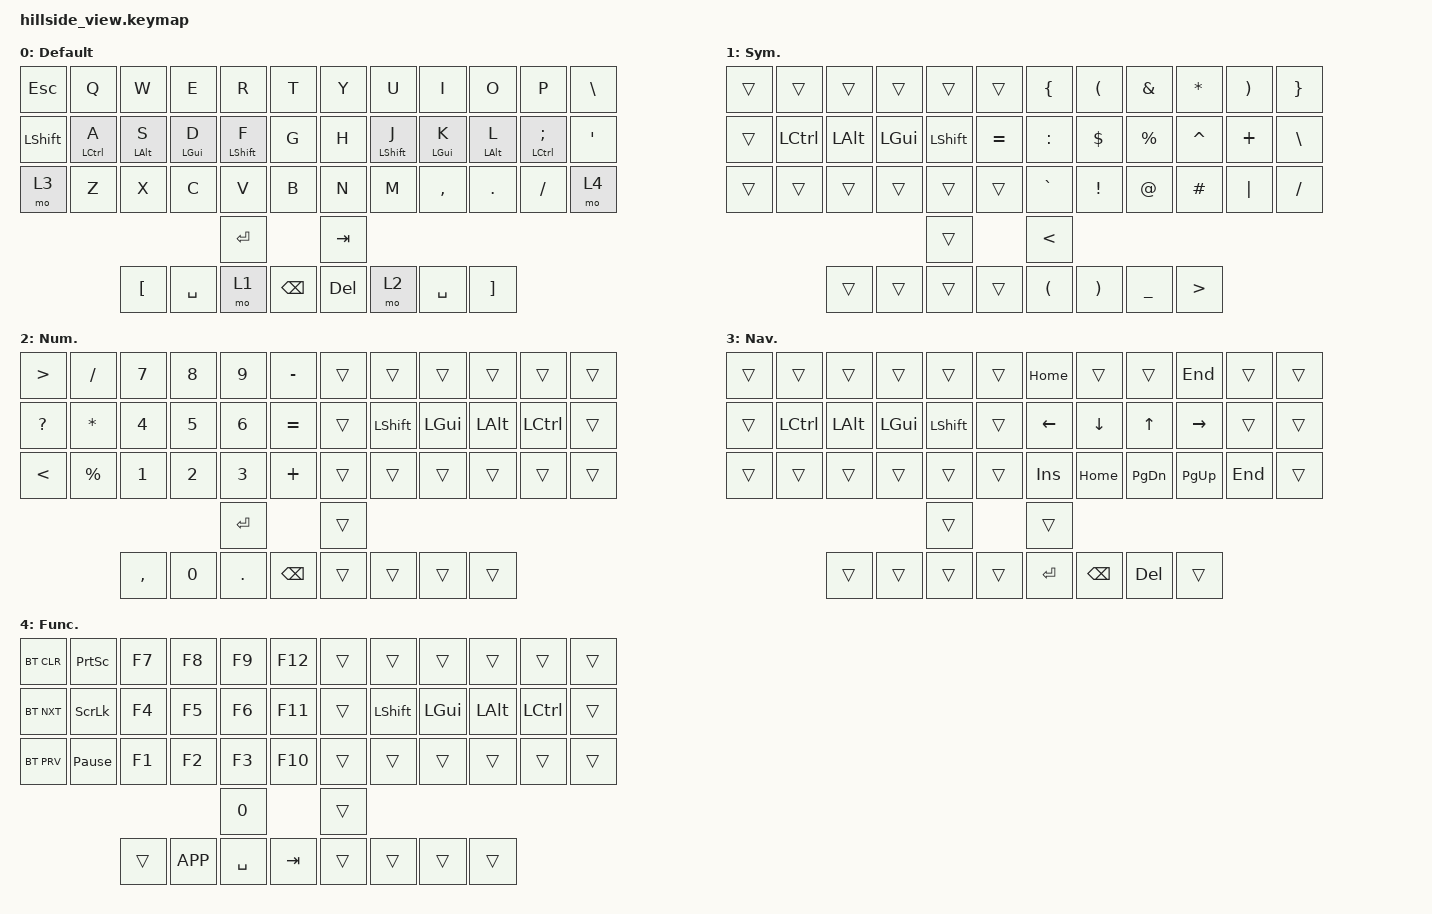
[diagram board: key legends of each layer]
#include <behaviors.dtsi>
#include <dt-bindings/zmk/keys.h>
#include <dt-bindings/zmk/bt.h>


//   // Key numbers
//   // -----------------------------------------------------------------------------------------
//   // | 0  |  1  |  2  |  3  |  4  |  5  |   |  6  |  7   |  8  |  9  |  10  | 11 |
//   // | 12 |  13 |  14 |  15 |  16 |  17 |   |  18 |  19  |  20 |  21 |  22  | 23 |
//   // | 24 |  25 |  26 |  27 |  28 |  29 |   |  30 |  31  |  32 |  33 |  34  | 35 |
//   //                        |  36 |               |  37 |
//   //            |  38 |  39 |  40 |  41 |   |  42 |  43 |  44  |  45 |

// homerow mod key configs as per https://zmk.dev/docs/keymaps/behaviors/hold-tap?examples=home_row_mods#custom-hold-tap-examples
/ {
    behaviors {
        hml: home_row_mod_left {
            compatible = "zmk,behavior-hold-tap";
            #binding-cells = <2>;
            flavor = "balanced";
            require-prior-idle-ms = <150>;
            tapping-term-ms = <200>; // default 200
            quick-tap-ms = <175>;
            bindings = <&kp>, <&kp>;
            // only get hold behaviors during cross-hand key combinations
            hold-trigger-key-positions = <6 7 8 9 10 11 18 19 20 21 22 23 30 31 32 33 34 35 37 42 43 44 45>; // List of keys on the right side of the keyboard
            // allow combined modifiers on same hand
            hold-trigger-on-release;
        };
        hmr: home_row_mod_right {
            compatible = "zmk,behavior-hold-tap";
            #binding-cells = <2>;
            flavor = "balanced";
            require-prior-idle-ms = <150>;
            tapping-term-ms = <200>; // default 200
            quick-tap-ms = <175>;
            bindings = <&kp>, <&kp>;
            hold-trigger-key-positions = <0 1 2 3 4 5 12 13 14 15 16 17 24 25 26 27 28 29 36 38 39 40 41>; // List of keys on the left side of the keyboard
            hold-trigger-on-release;
        };
    };
};

/ {
  combos {
    compatible = "zmk,combos";

    combo_caps_word {
      key-positions = <16 19>; // F + J
      bindings = <&caps_word>;
      timeout-ms = <50>;
    };

    combo_tmux {
      key-positions = <13 22>; // A + ;
      bindings = <&kp LC(B)>;
      timeout-ms = <50>;
    };
  };
};

/ {
  keymap {
    compatible = "zmk,keymap";

    default_layer {
      display-name = "Default";
  // -----------------------------------------------------------------------------------------
  // |  ESC  |  Q  |  W  |  E  |  R  |  T  |   |  Y  |  U   |  I  |  O  |  P  |   \   |
  // | LSFT  |  A  |  S  |  D  |  F  |  G  |   |  H  |  J   |  K  |  L  |  ;  |   '   |
  // |       | CTR | OPT | CMD | SFT |     |   |     | SFT  | CMD | OPT | CTR |
  // | L_NAV |  Z  |  X  |  C  |  V  |  B  |   |  N  |  M   |  ,  |  .  |  /  | L_FNC |
  //                           | ENT |               | TAB |
  //               | [ | SPC | L_SYM | BSP |   | DEL | L_NUM | SPC | ] |

      bindings = <
    &kp ESC   &kp Q        &kp W       &kp E       &kp R         &kp T             &kp Y &kp U         &kp I       &kp O       &kp P           &kp BSLH  
    &kp LSHFT &hml LCTRL A &hml LALT S &hml LGUI D &hml LSHFT F  &kp G             &kp H &hmr LSHFT J &hmr LGUI K &hmr LALT L &hmr LCTRL SEMI &kp SQT
    &mo 3     &kp Z        &kp X       &kp C       &kp V         &kp B             &kp N &kp M         &kp COMMA   &kp DOT     &kp FSLH        &mo 4
                                                   &kp ENTER                       &kp TAB
                        &kp LEFT_BRACKET &kp SPACE &mo 1 &kp BSPC          &kp DEL &mo 2 &kp SPACE &kp RIGHT_BRACKET
              >;
      };

    symbol_layer {
  // -----------------------------------------------------------------------------------------
  // |    |     |     |     |     |     |      |  {  |  (  |  &  |  *  |  )  |  }  |
  // |    | CTR | OPT | CMD | SFT |  =  |      |  :  |  $  |  %  |  ^  |  +  |  \  |
  // |    |     |     |     |     |     |      |  `  |  !  |  @  |  #  |  |  |  /  |
  //                        |     |                  |  <  |
  //             |    |     |*****|     |      |  (  |  )  |  _  |  >  |
      display-name = "Sym.";
      bindings = <
    &trans    &trans    &trans   &trans   &trans     &trans             &kp LBRC  &kp LPAR &kp AMPS  &kp ASTRK &kp RPAR &kp RBRC  
    &trans    &kp LCTRL &kp LALT &kp LGUI &kp LSHFT  &kp EQUAL          &kp COLON &kp DLLR &kp PRCNT &kp CARET &kp PLUS &kp BSLH
    &trans    &trans    &trans   &trans   &trans     &trans             &kp GRAVE &kp EXCL &kp AT    &kp HASH  &kp PIPE &kp FSLH
                                          &trans                                  &kp LT
                            &trans &trans &trans &trans                 &kp LPAR  &kp RPAR &kp UNDER &kp GT
              >;
      };
    number_layer {
  // -----------------------------------------------------------------------------------------
  // |  > |  /  |  7  |  8  |  9  |  -  |      |     |     |     |     |     |     |
  // |  ? |  *  |  4  |  5  |  6  |  =  |      |     | SFT | CMD | OPT | CTR |     |
  // |  < |  %  |  1  |  2  |  3  |  +  |      |     |     |     |     |     |     |
  //                        | ENT |                   |     |
  //             | ,  |  0  |  .  | BSP |      |     |*****|     |     |
      display-name = "Num.";
      bindings = <
   &kp GT     &kp FSLH  &kp N7 &kp N8 &kp N9 &kp MINUS               &trans    &trans      &trans   &trans   &trans     &trans
   &kp QMARK  &kp ASTRK &kp N4 &kp N5 &kp N6 &kp EQUAL               &trans    &kp LSHIFT  &kp LGUI &kp LALT &kp LCTRL  &trans
   &kp LT     &kp PRCNT &kp N1 &kp N2 &kp N3 &kp PLUS                &trans    &trans      &trans   &trans   &trans     &trans
                                              &kp ENTER                                   &trans
                              &kp COMMA &kp N0 &kp DOT &kp BSPC                  &trans    &trans    &trans   &trans
              >;
      };


    navigation_layer {     
  // -----------------------------------------------------------------------------------------
  // |    |     |     |     |     |     |      | HOME|      |      |  END |     |     |
  // |    | CTR | OPT | CMD | SFT |     |      |  <- |   ⬇  |   ⬆  |  ->  |     |     |
  // |****|     |     |     |     |     |      | INS | HOME | PGDN | PGUP | END |     |
  //                        |     |                  |      |
  //             |    |     |     |     |      | ENT | BSP  | DEL  |      |
      display-name = "Nav.";
      bindings = <
    &trans    &trans    &trans   &trans   &trans     &trans             &kp HOME  &trans    &trans    &kp END   &trans     &trans
    &trans    &kp LCTRL &kp LALT &kp LGUI &kp LSHFT  &trans             &kp LEFT  &kp DOWN  &kp UP    &kp RIGHT &trans     &trans
    &trans    &trans    &trans   &trans   &trans     &trans             &kp INS   &kp HOME  &kp PG_DN &kp PG_UP &kp END    &trans
                                          &trans                                  &trans
                            &trans &trans &trans &trans                 &kp ENTER &kp BSPC  &kp DEL   &trans
              >;
      };
    function_layer {
  // -----------------------------------------------------------------------------------------
  // |BT_CLR| PSCRN |  F7 |  F8 |  F9 |     F12     |          |    |     |     |     |     |     |
  // |BT_NXT| SLCK  |  F4 |  F5 |  F6 |     F11     |          |    | SFT | CMD | OPT | CTR |     |
  // |BT_PRV| PAUSE |  F1 |  F2 |  F3 |     F10     |          |    |     |     |     |     |*****|
  //                        |  0  |                             |     |
  //             |    | APP | SPC | TAB |                  |    |     |     |     |
      display-name = "Func.";
      bindings = <
   &bt BT_CLR &kp PSCRN       &kp F7 &kp F8 &kp F9 &kp F12                   &trans    &trans      &trans   &trans   &trans     &trans 
   &bt BT_NXT &kp SLCK        &kp F4 &kp F5 &kp F6 &kp F11                   &trans    &kp LSHIFT  &kp LGUI &kp LALT &kp LCTRL  &trans
   &bt BT_PRV &kp PAUSE_BREAK &kp F1 &kp F2 &kp F3 &kp F10                   &trans    &trans      &trans   &trans   &trans     &trans 
                                &kp N0                                             &trans
               &trans &kp K_APP &kp SPACE &kp TAB                        &trans    &trans    &trans   &trans 
              >;
      };

   };  
};
